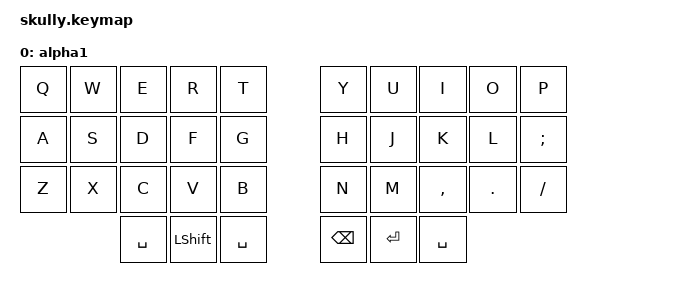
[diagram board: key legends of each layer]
/*
 * Copyright (c) 2020 The ZMK Contributors
 *
 * SPDX-License-Identifier: MIT
 */

#include <behaviors.dtsi>
#include <dt-bindings/zmk/keys.h>
#include <dt-bindings/zmk/bt.h>

/* Layers */
#define AL1 0
/ { 
    keymap {
            compatible = "zmk,keymap";

            alpha1 {
              bindings = <
                &kp Q   &kp W       &kp E       &kp R           &kp T           &kp Y     &kp U       &kp I       &kp O       &kp P
                &kp A   &kp S       &kp D       &kp F           &kp G           &kp H     &kp J       &kp K       &kp L       &kp SEMI
                &kp Z   &kp X       &kp C       &kp V           &kp B           &kp N     &kp M       &kp COMMA   &kp DOT     &kp SLASH
                                    &kp SPC     &kp LSHIFT      &kp SPC         &kp BKSP  &kp RET     &kp SPC
              >;
            };
    };
};
